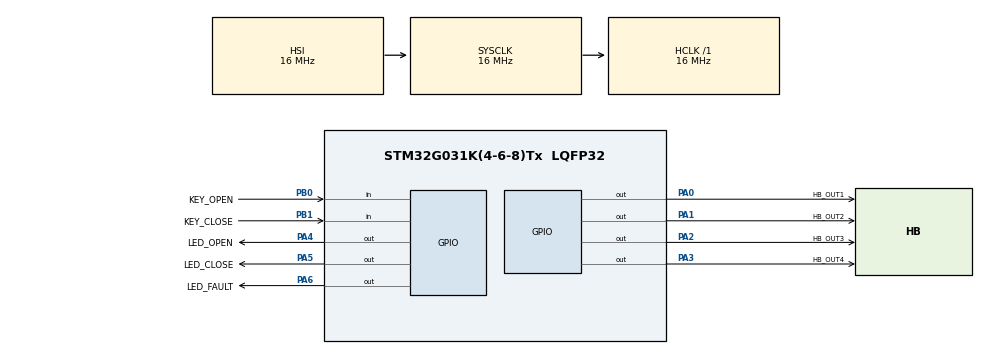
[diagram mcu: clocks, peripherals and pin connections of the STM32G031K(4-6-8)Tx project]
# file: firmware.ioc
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Mcu.Family=STM32G0
Mcu.Name=STM32G031K(4-6-8)Tx
Mcu.Package=LQFP32
PA0.GPIO_Label=HB_OUT1
PA0.Signal=GPIO_Output
PA1.GPIO_Label=HB_OUT2
PA1.Signal=GPIO_Output
PA13.Mode=Serial_Wire
PA13.Signal=SYS_SWDIO
PA14-BOOT0.Mode=Serial_Wire
PA14-BOOT0.Signal=SYS_SWCLK
PA2.GPIO_Label=HB_OUT3
PA2.Signal=GPIO_Output
PA3.GPIO_Label=HB_OUT4
PA3.Signal=GPIO_Output
PA4.GPIO_Label=LED_OPEN
PA4.Signal=GPIO_Output
PA5.GPIO_Label=LED_CLOSE
PA5.Signal=GPIO_Output
PA6.GPIO_Label=LED_FAULT
PA6.Signal=GPIO_Output
PB0.GPIO_Label=KEY_OPEN
PB0.Signal=GPIO_Input
PB1.GPIO_Label=KEY_CLOSE
PB1.Signal=GPIO_Input
ProjectManager.HeapSize=0x200
ProjectManager.StackSize=0x400
ProjectManager.TargetToolchain=Makefile
RCC.AHBFreq_Value=16000000
RCC.CortexFreq_Value=16000000
RCC.EXTERNAL_CLOCK_VALUE=12288000
RCC.HCLKFreq_Value=16000000
RCC.HSE_VALUE=8000000
RCC.HSI_VALUE=16000000
RCC.LSE_VALUE=32768
RCC.SYSCLKFreq_VALUE=16000000
RCC.VCOOutputFreq_Value=128000000
VP_IWDG_VS_IWDG.Mode=IWDG_Activate
board=custom

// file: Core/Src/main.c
/* USER CODE BEGIN Header */
/**
 ******************************************************************************
 * @file           : main.c
 * @brief          : Main program body
 ******************************************************************************
 * @attention
 *
 * Copyright (c) 2026 STMicroelectronics.
 * All rights reserved.
 *
 * This software is licensed under terms that can be found in the LICENSE file
 * in the root directory of this software component.
 * If no LICENSE file comes with this software, it is provided AS-IS.
 *
 ******************************************************************************
 */
/* USER CODE END Header */
#include "main.h"
#include "gpio.h"
#include "iwdg.h"

/* USER CODE BEGIN Includes */
#include "hbridge.h"
#include "key.h"
/* USER CODE END Includes */

void SystemClock_Config(void);

int main(void) {

  /* USER CODE BEGIN 1 */
  key_state_t key_state;
  /* USER CODE END 1 */

  /* MCU Configuration--------------------------------------------------------*/

  /* Reset of all peripherals, Initializes the Flash interface and the Systick.
   */
  HAL_Init();

  /* USER CODE BEGIN Init */
  __HAL_DBGMCU_FREEZE_IWDG();
  /* USER CODE END Init */

  /* Configure the system clock */
  SystemClock_Config();

  /* Initialize all configured peripherals */
  MX_GPIO_Init();
  MX_IWDG_Init();
  /* USER CODE BEGIN 2 */
  key_init(KEY_OPEN_GPIO_Port, KEY_OPEN_Pin, KEY_CLOSE_GPIO_Port,
           KEY_CLOSE_Pin);

  hbridge_init(HB_OUT1_GPIO_Port, HB_OUT1_Pin, HB_OUT2_GPIO_Port, HB_OUT2_Pin,
               HB_OUT3_GPIO_Port, HB_OUT3_Pin, HB_OUT4_GPIO_Port, HB_OUT4_Pin);
  /* USER CODE END 2 */

  /* Infinite loop */
  /* USER CODE BEGIN WHILE */
  while (1) {
    key_update();
    key_state = key_get_state();
    if (key_state == KEY_OPEN) {
      HAL_GPIO_WritePin(LED_OPEN_GPIO_Port, LED_OPEN_Pin, GPIO_PIN_SET);
      HAL_GPIO_WritePin(LED_CLOSE_GPIO_Port, LED_CLOSE_Pin, GPIO_PIN_RESET);
      HAL_GPIO_WritePin(LED_FAULT_GPIO_Port, LED_FAULT_Pin, GPIO_PIN_RESET);
      hbridge_set_state(HBRIDGE_POSITIVE);
    } else if (key_state == KEY_CLOSE) {
      HAL_GPIO_WritePin(LED_CLOSE_GPIO_Port, LED_CLOSE_Pin, GPIO_PIN_SET);
      HAL_GPIO_WritePin(LED_OPEN_GPIO_Port, LED_OPEN_Pin, GPIO_PIN_RESET);
      HAL_GPIO_WritePin(LED_FAULT_GPIO_Port, LED_FAULT_Pin, GPIO_PIN_RESET);
      hbridge_set_state(HBRIDGE_NEGATIVE);
    } else {
      HAL_GPIO_WritePin(LED_FAULT_GPIO_Port, LED_FAULT_Pin, GPIO_PIN_SET);
      HAL_GPIO_WritePin(LED_OPEN_GPIO_Port, LED_OPEN_Pin, GPIO_PIN_RESET);
      HAL_GPIO_WritePin(LED_CLOSE_GPIO_Port, LED_CLOSE_Pin, GPIO_PIN_RESET);
      hbridge_set_state(HBRIDGE_NONE);
    }
    HAL_IWDG_Refresh(&hiwdg);

    /* USER CODE END WHILE */

  }
}

void SystemClock_Config(void) {
  RCC_OscInitTypeDef RCC_OscInitStruct = {0};
  RCC_ClkInitTypeDef RCC_ClkInitStruct = {0};

  /** Configure the main internal regulator output voltage
   */
  HAL_PWREx_ControlVoltageScaling(PWR_REGULATOR_VOLTAGE_SCALE1);

  /** Initializes the RCC Oscillators according to the specified parameters
   * in the RCC_OscInitTypeDef structure.
   */
  RCC_OscInitStruct.OscillatorType =
      RCC_OSCILLATORTYPE_HSI | RCC_OSCILLATORTYPE_LSI;
  RCC_OscInitStruct.HSIState = RCC_HSI_ON;
  RCC_OscInitStruct.HSIDiv = RCC_HSI_DIV1;
  RCC_OscInitStruct.HSICalibrationValue = RCC_HSICALIBRATION_DEFAULT;
  RCC_OscInitStruct.LSIState = RCC_LSI_ON;
  RCC_OscInitStruct.PLL.PLLState = RCC_PLL_NONE;
  if (HAL_RCC_OscConfig(&RCC_OscInitStruct) != HAL_OK) {
    Error_Handler();
  }

  /** Initializes the CPU, AHB and APB buses clocks
   */
  RCC_ClkInitStruct.ClockType =
      RCC_CLOCKTYPE_HCLK | RCC_CLOCKTYPE_SYSCLK | RCC_CLOCKTYPE_PCLK1;
  RCC_ClkInitStruct.SYSCLKSource = RCC_SYSCLKSOURCE_HSI;
  RCC_ClkInitStruct.AHBCLKDivider = RCC_SYSCLK_DIV1;
  RCC_ClkInitStruct.APB1CLKDivider = RCC_HCLK_DIV1;

  if (HAL_RCC_ClockConfig(&RCC_ClkInitStruct, FLASH_LATENCY_0) != HAL_OK) {
    Error_Handler();
  }
}

void Error_Handler(void) {
  __disable_irq();
  while (1) {
  }
}

#ifdef USE_FULL_ASSERT
/**
 * @brief  Reports the name of the source file and the source line number
 *         where the assert_param error has occurred.
 * @param  file: pointer to the source file name
 * @param  line: assert_param error line source number
 * @retval None
 */
void assert_failed(uint8_t *file, uint32_t line) {
  /* USER CODE BEGIN 6 */
  /* User can add his own implementation to report the file name and line
     number, ex: printf("Wrong parameters value: file %s on line %d\r\n", file,
     line) */
  /* USER CODE END 6 */
}
#endif /* USE_FULL_ASSERT */
